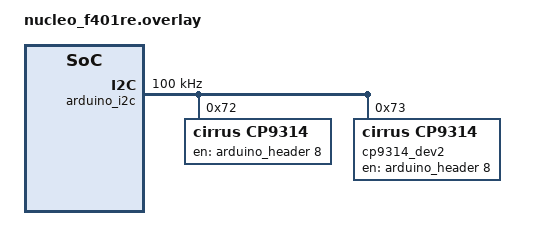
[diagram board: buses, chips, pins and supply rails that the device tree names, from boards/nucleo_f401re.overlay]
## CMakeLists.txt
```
# SPDX-License-Identifier: Apache-2.0

cmake_minimum_required(VERSION 3.20.0)
find_package(Zephyr REQUIRED HINTS $ENV{ZEPHYR_BASE})
project(cp9314)

FILE(GLOB app_sources src/*.c)
target_sources(app PRIVATE ${app_sources})
```

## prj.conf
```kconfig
CONFIG_I2C=y
CONFIG_LOG=y
CONFIG_REGULATOR=y
CONFIG_REGULATOR_CP9314=y
CONFIG_CBPRINTF_FP_SUPPORT=y
```

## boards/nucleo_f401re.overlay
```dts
/*
 * Copyright (c) 2024 Cirrus Logic, Inc.
 *
 * SPDX-License-Identifier: Apache-2.0
 */

 #include <zephyr/dt-bindings/gpio/gpio.h>
 #include <zephyr/dt-bindings/i2c/i2c.h>

&arduino_i2c {
    status = "okay";
    clock-frequency = <I2C_BITRATE_STANDARD>;

    cp9314: cp9314@72 {
        compatible = "cirrus,cp9314";
        reg = <0x72>;
        status = "okay";

        cirrus,initial-switched-capacitor-mode = "2:1";

        cirrus,en-gpios = <&arduino_header 8 GPIO_ACTIVE_HIGH>;
    };

    cp9314_dev2: cp9314@73 {
        compatible = "cirrus,cp9314";
        reg = <0x73>;
        status = "okay";

        cirrus,initial-switched-capacitor-mode = "2:1";

        cirrus,en-gpios = <&arduino_header 8 GPIO_ACTIVE_HIGH>;
    };
};
```

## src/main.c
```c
/*
 * Copyright (c) 2024 Cirrus Logic, Inc.
 *
 * SPDX-License-Identifier: Apache-2.0
 */

#include "zephyr/sys/printk.h"
#include <zephyr/kernel.h>
#include <zephyr/device.h>
#include <zephyr/devicetree.h>
#include <zephyr/drivers/regulator.h>

int main(void)
{
	const struct device *dev2 = DEVICE_DT_GET_OR_NULL(DT_NODELABEL(cp9314_dev2));
	const struct device *host = DEVICE_DT_GET(DT_NODELABEL(cp9314));
	int ret;

	if (host == NULL) {
		printk("No host CP9314 found...\n");
		return -EIO;
	} else if (dev2 == NULL) {
		printk("No secondary CP9314 found, assuming standalone operation\n");
	}

	if (!device_is_ready(host)) {
		printk("\nError: Device \"%s\" is not ready; "
		       "check the driver initialization logs for errors.\n",
		       host->name);
		return -EIO;
	}

	printk("Found device \"%s\", getting regulator data\n", host->name);

	if (dev2) {
		if (!device_is_ready(dev2)) {
			printk("\nError: Device \"%s\" is not ready; "
			       "check the driver initialization logs for errors.\n",
			       dev2->name);
			return -EIO;
		}

		printk("Found device \"%s\", getting regulator data\n", dev2->name);
	}

	while (1) {
		printk("Found device %s\n", host->name);
		if (dev2) {
			printk("Found device %s\n", dev2->name);
		}

		ret = regulator_enable(host);
		if (ret < 0) {
			printk("Error enabling regulator: %d\n", ret);
			return ret;
		}

		if (dev2) {
			ret = regulator_enable(dev2);
			if (ret < 0) {
				printk("Error enabling regulator: %d\n", ret);
				return ret;
			}
		}

		printk("Converter(s) enabled\n");

		k_sleep(K_SECONDS(10));

		if (dev2) {
			ret = regulator_disable(dev2);
			if (ret < 0) {
				printk("Error disabling regulator: %d\n", ret);
				return ret;
			}
		}

		ret = regulator_disable(host);
		if (ret < 0) {
			printk("Error disabling regulator: %d\n", ret);
			return ret;
		}

		printk("Converter(s) disabled\n");

		k_sleep(K_SECONDS(10));
	}

	return 0;
}
```
